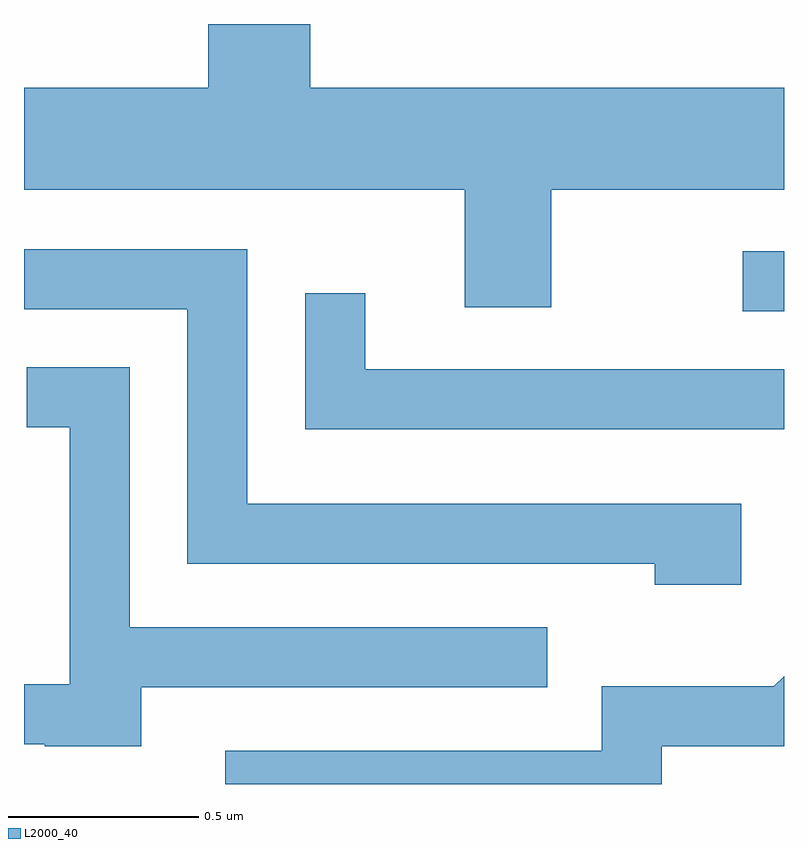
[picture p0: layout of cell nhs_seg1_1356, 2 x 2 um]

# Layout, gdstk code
import gdstk
lib = gdstk.Library(unit=1e-6, precision=1e-09)
def R(c, l, rs):  # rectangles x0, y0, x1, y1
    for r in rs: c.add(gdstk.rectangle(r[:2], r[2:], *l))
def P(c, l, *ps):  # polygons
    for p in ps: c.add(gdstk.Polygon(p, *l))
L2000_40 = (2000, 40)

nhs_seg1_1356 = lib.new_cell('nhs_seg1_1356')
R(nhs_seg1_1356, L2000_40, [(196.503,976.956,196.611,977.114)])
P(nhs_seg1_1356, L2000_40, [(195.999,977.276),(196.611,977.276),(196.611,977.544),(195.364,977.544),(195.364,977.712),(195.096,977.712),(195.096,977.544),(194.611,977.544),(194.611,977.276),(195.771,977.276),(195.771,976.966),(195.999,976.966)],
  [(196.499,976.449),(195.199,976.449),(195.199,977.119),(194.611,977.119),(194.611,976.961),(195.041,976.961),(195.041,976.291),(196.271,976.291),(196.271,976.236),(196.499,976.236)],
  [(196.611,976.804),(195.509,976.804),(195.509,977.003),(195.351,977.003),(195.351,976.646),(196.611,976.646)],
  [(194.919,975.966),(195.988,975.966),(195.988,976.124),(194.889,976.124),(194.889,976.809),(194.618,976.809),(194.618,976.651),(194.731,976.651),(194.731,975.974),(194.611,975.974),(194.611,975.816),(194.665,975.816),(194.665,975.811),(194.919,975.811)],
  [(196.289,975.811),(196.611,975.811),(196.611,975.996),(196.584,975.969),(196.131,975.969),(196.131,975.799),(195.141,975.799),(195.141,975.712),(196.289,975.712)])

lib.write_gds('nhs_seg1_1356.gds')
